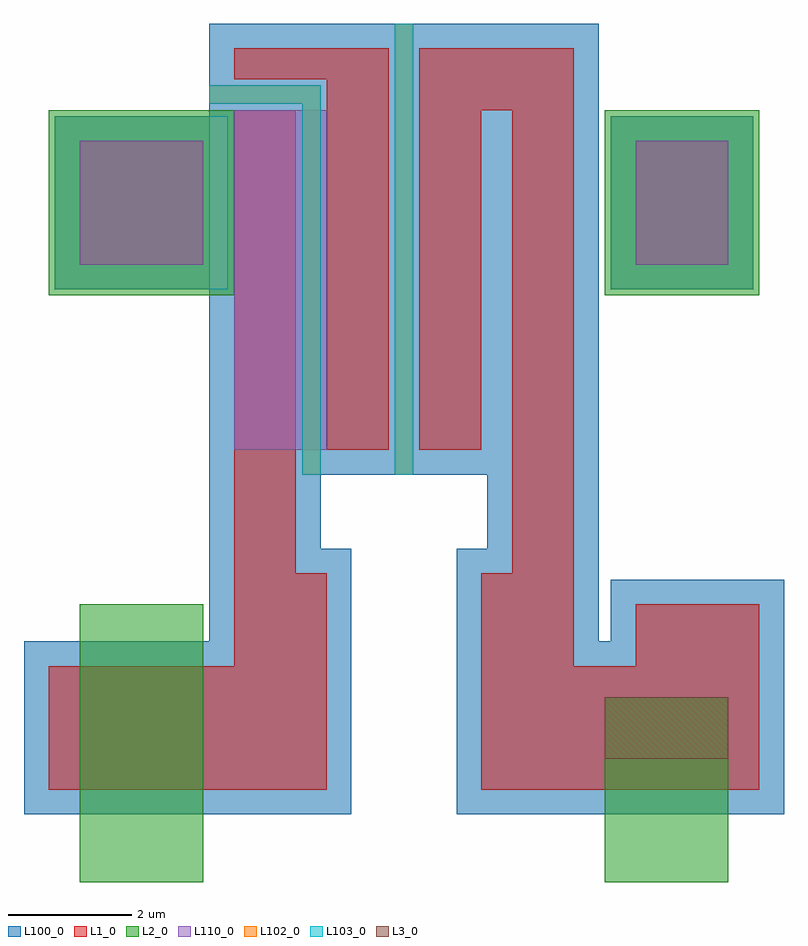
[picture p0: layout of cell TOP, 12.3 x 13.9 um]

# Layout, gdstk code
from math import pi, radians
import gdstk
lib = gdstk.Library(unit=1e-6, precision=1e-09)
def R(c, l, rs):  # rectangles x0, y0, x1, y1
    for r in rs: c.add(gdstk.rectangle(r[:2], r[2:], *l))
def P(c, l, *ps):  # polygons
    for p in ps: c.add(gdstk.Polygon(p, *l))
L1_0 = (1, 0)
L2_0 = (2, 0)
L3_0 = (3, 0)
L100_0 = (100, 0)
L102_0 = (102, 0)
L103_0 = (103, 0)
L110_0 = (110, 0)

part = lib.new_cell('PART')
R(part, L1_0, [(0,0,1,5.5)])

child = lib.new_cell('CHILD')
R(child, L1_0, [(-0.5,-5.5,0,-2), (1,-5.5,4,-3.5), (2,3,3.5,5)])
R(child, L2_0, [(1.5,-7,3.5,-4), (1.5,2.5,4,5.5)])
child.add(gdstk.Reference(part, (0,0)))
child.add(gdstk.Reference(part, (0,-5.5)))
child.add(gdstk.Reference(part, (-1.5,0)))

top = lib.new_cell('TOP')
R(top, L1_0, [(2,-3.5,4,-2.5), (-6,3,-5,5), (-3,5.5,-2,6.5), (-1.5,5.5,1,6.5), (-4.5,6,-3,6.5)])
R(top, L2_0, [(-7,-4,-5,-2.5), (-5.5,2.5,-4.5,5.5)])
R(top, L3_0, [(1.5,-5,3.5,-4)])
R(top, L100_0, [(-7.4,2.6,-4.6,5.4), (1.6,2.6,3.9,5.4)])
P(top, L100_0, [(-3.4,-0.4),(-3.4,5.6),(-4.9,5.6),(-4.9,6.9),(-1.6,6.9),(-1.6,-0.4)],
  [(-0.9,-5.9),(-0.9,-1.6),(-0.4,-1.6),(-0.4,-0.4),(-1.9,-0.4),(-1.9,6.9),(1.4,6.9),(1.4,-3.1),(1.6,-3.1),(1.6,-2.1),(4.4,-2.1),(4.4,-5.9)],
  [(-7.9,-5.9),(-7.9,-3.1),(-4.9,-3.1),(-4.9,5.9),(-3.1,5.9),(-3.1,-1.6),(-2.6,-1.6),(-2.6,-5.9)])
R(top, L102_0, [(-1.9,-0.4,-1.6,6.9), (-4.9,2.6,-4.6,5.4)])
P(top, L102_0, [(-3.4,-0.4),(-3.4,5.6),(-4.9,5.6),(-4.9,5.9),(-3.1,5.9),(-3.1,-0.4)])
R(top, L103_0, [(-1.9,-0.4,-1.6,6.9), (-4.9,2.6,-4.6,5.4)])
P(top, L103_0, [(-3.4,-0.4),(-3.4,5.6),(-4.9,5.6),(-4.9,5.9),(-3.1,5.9),(-3.1,-0.4)])
R(top, L110_0, [(-4.5,0,-3,5.5), (-7,3,-5,5), (2,3,3.5,5)])
top.add(gdstk.Reference(child, (0,0)))
top.add(gdstk.Reference(child, (-3.5,0), rotation=pi, x_reflection=True))

lib.write_gds('TOP.gds')
